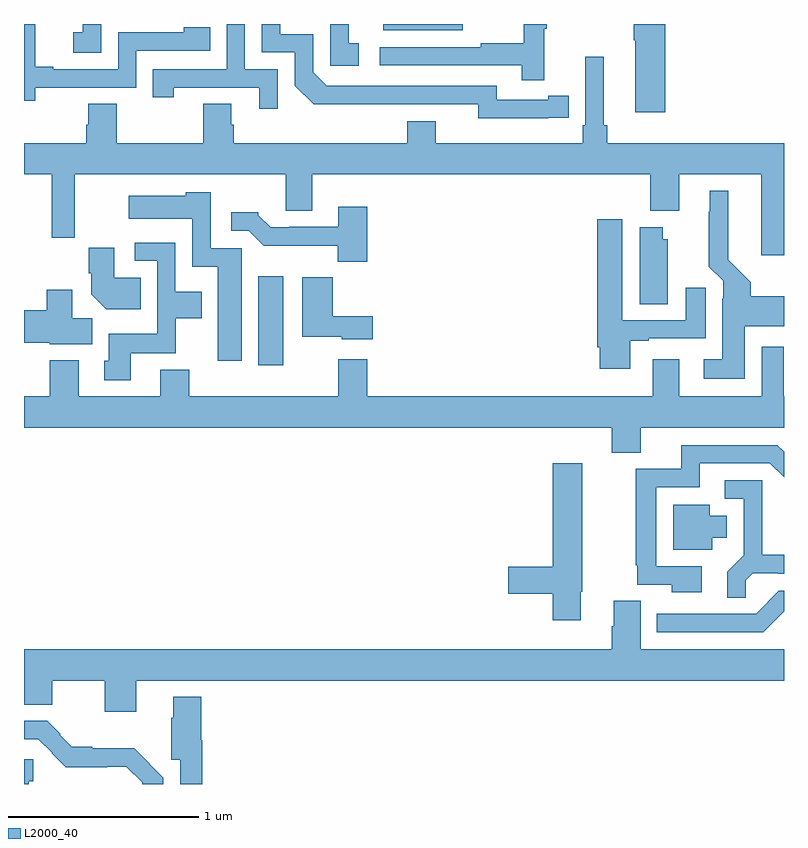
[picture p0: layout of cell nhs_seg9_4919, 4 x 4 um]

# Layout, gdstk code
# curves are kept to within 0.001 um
import gdstk
lib = gdstk.Library(unit=1e-6, precision=1e-09)
def R(c, l, rs):  # rectangles x0, y0, x1, y1
    for r in rs: c.add(gdstk.rectangle(r[:2], r[2:], *l))
def P(c, l, *ps):  # polygons
    for p in ps: c.add(gdstk.Polygon(p, *l))
L2000_40 = (2000, 40)

nhs_seg9_4919 = lib.new_cell('nhs_seg9_4919')
R(nhs_seg9_4919, L2000_40, [(396.233,1240.704,396.364,1241.173), (396.89,1242.467,397.309,1242.5)])
P(nhs_seg9_4919, L2000_40, [(397.739,1242.475),(397.75,1242.475),(397.75,1242.5),(397.629,1242.5),(397.629,1242.398),(397.405,1242.398),(397.405,1242.378),(396.873,1242.378),(396.873,1242.282),(397.621,1242.282),(397.621,1242.204),(397.739,1242.204)],
  [(398.375,1242.5),(398.209,1242.5),(398.209,1242.415),(398.216,1242.415),(398.216,1242.036),(398.375,1242.036)],
  [(396.763,1242.399),(396.71,1242.399),(396.71,1242.5),(396.612,1242.5),(396.612,1242.279),(396.763,1242.279)],
  [(396.336,1242.261),(396.162,1242.261),(396.162,1242.5),(396.066,1242.5),(396.066,1242.261),(395.677,1242.261),(395.677,1242.114),(395.788,1242.114),(395.788,1242.165),(396.239,1242.165),(396.239,1242.054),(396.336,1242.054)],
  [(395.406,1242.5),(395.308,1242.5),(395.308,1242.457),(395.259,1242.457),(395.259,1242.348),(395.406,1242.348)],
  [(397.76,1242.006),(397.868,1242.006),(397.868,1242.122),(397.76,1242.122),(397.76,1242.102),(397.488,1242.102),(397.488,1242.174),(396.594,1242.174),(396.522,1242.246),(396.522,1242.447),(396.349,1242.447),(396.349,1242.5),(396.252,1242.5),(396.252,1242.351),(396.426,1242.351),(396.426,1242.174),(396.524,1242.077),(397.392,1242.078),(397.392,1242.005)],
  [(395.058,1242.165),(395.592,1242.165),(395.592,1242.36),(395.981,1242.36),(395.981,1242.483),(395.841,1242.483),(395.841,1242.456),(395.496,1242.456),(395.496,1242.261),(395.155,1242.261),(395.155,1242.274),(395.06,1242.274),(395.06,1242.5),(395,1242.5),(395,1242.097),(395.058,1242.097)],
  [(399,1241.872),(398.069,1241.872),(398.069,1241.968),(398.05,1241.968),(398.05,1242.328),(397.953,1242.328),(397.953,1241.968),(397.94,1241.968),(397.94,1241.872),(397.168,1241.872),(397.168,1241.989),(397.016,1241.989),(397.016,1241.872),(396.104,1241.872),(396.104,1241.97),(396.091,1241.97),(396.091,1242.08),(395.944,1242.08),(395.944,1241.872),(395.487,1241.872),(395.487,1242.08),(395.339,1242.08),(395.339,1241.97),(395.327,1241.97),(395.327,1241.872),(395,1241.872),(395,1241.708),(395.146,1241.708),(395.146,1241.376),(395.267,1241.376),(395.267,1241.708),(396.377,1241.708),(396.377,1241.518),(396.517,1241.518),(396.517,1241.708),(398.297,1241.708),(398.297,1241.516),(398.449,1241.516),(398.449,1241.708),(398.879,1241.708),(398.879,1241.283),(399,1241.283)],
  [(398.794,1240.91),(399,1240.91),(399,1241.068),(398.825,1241.068),(398.825,1241.142),(398.707,1241.26),(398.707,1241.623),(398.609,1241.623),(398.609,1241.513),(398.605,1241.513),(398.605,1241.222),(398.679,1241.148),(398.679,1241.054),(398.675,1241.054),(398.675,1240.735),(398.577,1240.735),(398.577,1240.634),(398.794,1240.634)],
  [(396.145,1241.319),(395.982,1241.319),(395.982,1241.614),(395.85,1241.614),(395.85,1241.596),(395.55,1241.596),(395.55,1241.474),(395.886,1241.474),(395.886,1241.222),(396.02,1241.222),(396.02,1240.728),(396.145,1240.728)],
  [(396.806,1241.539),(396.653,1241.539),(396.653,1241.433),(396.397,1241.433),(396.397,1241.43),(396.298,1241.43),(396.234,1241.494),(396.234,1241.509),(396.09,1241.509),(396.09,1241.412),(396.183,1241.412),(396.262,1241.334),(396.651,1241.334),(396.651,1241.249),(396.806,1241.249)],
  [(398.191,1240.833),(398.287,1240.833),(398.287,1240.845),(398.587,1240.845),(398.587,1241.113),(398.483,1241.113),(398.483,1240.941),(398.149,1240.941),(398.149,1241.473),(398.018,1241.473),(398.018,1240.798),(398.03,1240.798),(398.03,1240.686),(398.191,1240.686)],
  [(398.389,1241.367),(398.362,1241.367),(398.362,1241.431),(398.24,1241.431),(398.24,1241.026),(398.389,1241.026)],
  [(395.563,1240.766),(395.799,1240.766),(395.799,1240.952),(395.935,1240.952),(395.935,1241.092),(395.796,1241.092),(395.796,1241.349),(395.583,1241.349),(395.583,1241.253),(395.7,1241.253),(395.7,1240.87),(395.447,1240.87),(395.447,1240.728),(395.423,1240.728),(395.423,1240.626),(395.563,1240.626)],
  [(395.615,1241.164),(395.476,1241.164),(395.476,1241.323),(395.342,1241.323),(395.342,1241.188),(395.354,1241.188),(395.354,1241.078),(395.432,1241),(395.615,1241)],
  [(396.835,1240.963),(396.626,1240.963),(396.626,1241.167),(396.464,1241.167),(396.464,1240.853),(396.672,1240.853),(396.672,1240.841),(396.835,1240.841)],
  [(395.359,1240.952),(395.254,1240.952),(395.254,1241.101),(395.12,1241.101),(395.12,1240.994),(395,1240.994),(395,1240.823),(395.136,1240.823),(395.136,1240.814),(395.359,1240.814)],
  [(398.245,1240.376),(399,1240.376),(399,1240.54),(398.999,1240.54),(398.999,1240.801),(398.883,1240.801),(398.883,1240.54),(398.449,1240.54),(398.449,1240.735),(398.309,1240.735),(398.309,1240.54),(396.806,1240.54),(396.806,1240.735),(396.653,1240.735),(396.653,1240.54),(395.87,1240.54),(395.87,1240.681),(395.717,1240.681),(395.717,1240.54),(395.287,1240.54),(395.287,1240.729),(395.135,1240.729),(395.135,1240.54),(395,1240.54),(395,1240.376),(398.093,1240.376),(398.093,1240.243),(398.245,1240.243)],
  [(398.566,1239.645),(398.328,1239.645),(398.328,1240.062),(398.557,1240.062),(398.557,1240.188),(398.925,1240.188),(399,1240.114),(399,1240.248),(398.964,1240.284),(398.459,1240.284),(398.459,1240.158),(398.22,1240.158),(398.22,1239.652),(398.227,1239.652),(398.227,1239.549),(398.41,1239.549),(398.41,1239.509),(398.566,1239.509)],
  [(397.93,1239.513),(397.938,1239.513),(397.938,1240.189),(397.784,1240.189),(397.784,1239.644),(397.548,1239.644),(397.548,1239.502),(397.784,1239.502),(397.784,1239.363),(397.93,1239.363)],
  [(398.799,1239.572),(398.836,1239.609),(398.97,1239.609),(398.97,1239.606),(399,1239.606),(399,1239.706),(398.885,1239.706),(398.885,1240.098),(398.688,1240.098),(398.688,1240.002),(398.787,1240.002),(398.787,1239.703),(398.701,1239.617),(398.701,1239.481),(398.799,1239.481)],
  [(398.623,1239.797),(398.698,1239.797),(398.698,1239.913),(398.608,1239.913),(398.608,1239.97),(398.417,1239.97),(398.417,1239.734),(398.623,1239.734)],
  [(399,1239.408),(399,1239.516),(398.973,1239.516),(398.853,1239.396),(398.33,1239.396),(398.33,1239.3),(398.892,1239.3)],
  [(395.59,1239.044),(399,1239.044),(399,1239.208),(398.245,1239.208),(398.245,1239.464),(398.105,1239.464),(398.105,1239.33),(398.093,1239.33),(398.093,1239.208),(395,1239.208),(395,1238.918),(395.149,1238.918),(395.149,1239.044),(395.426,1239.044),(395.426,1238.88),(395.59,1238.88)],
  [(395.939,1238.731),(395.933,1238.731),(395.933,1238.959),(395.786,1238.959),(395.786,1238.849),(395.774,1238.849),(395.774,1238.628),(395.823,1238.628),(395.823,1238.5),(395.939,1238.5)],
  [(395.734,1238.532),(395.579,1238.689),(395.359,1238.689),(395.359,1238.697),(395.251,1238.697),(395.189,1238.759),(395.193,1238.763),(395.123,1238.833),(395,1238.833),(395,1238.736),(395.076,1238.736),(395.148,1238.664),(395.146,1238.662),(395.22,1238.588),(395.438,1238.588),(395.438,1238.592),(395.538,1238.592),(395.622,1238.508),(395.622,1238.5),(395.734,1238.5)],
  [(395.026,1238.514),(395.049,1238.514),(395.049,1238.631),(395,1238.631),(395,1238.5),(395.026,1238.5)])

lib.write_gds('nhs_seg9_4919.gds')
